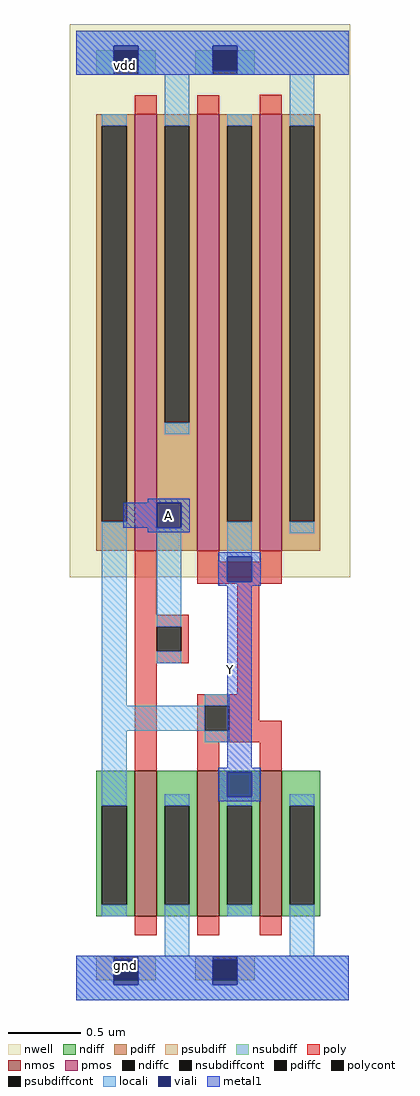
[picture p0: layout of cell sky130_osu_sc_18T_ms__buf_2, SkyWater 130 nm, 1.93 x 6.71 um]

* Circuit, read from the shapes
.subckt sky130_osu_sc_18T_ms__buf_2 A Y
XM1 gnd A n1 gnd sky130_fd_pr__nfet_01v8 w=1 l=0.15
XM2 Y n1 gnd gnd sky130_fd_pr__nfet_01v8 w=1 l=0.15 m=2
XM3 vdd A n1 vdd sky130_fd_pr__pfet_01v8 w=3 l=0.15
XM4 Y n1 vdd vdd sky130_fd_pr__pfet_01v8 w=3 l=0.15 m=2
.ends

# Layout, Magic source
magic
tech sky130A
magscale 1 2
<< nwell >>
rect -9 581 376 1341
<< nmos >>
rect 80 115 110 315
rect 166 115 196 315
rect 252 115 282 315
<< pmos >>
rect 80 617 110 1217
rect 166 617 196 1217
rect 252 617 282 1217
<< ndiff >>
rect 27 267 80 315
rect 27 131 35 267
rect 69 131 80 267
rect 27 115 80 131
rect 110 267 166 315
rect 110 131 121 267
rect 155 131 166 267
rect 110 115 166 131
rect 196 267 252 315
rect 196 131 207 267
rect 241 131 252 267
rect 196 115 252 131
rect 282 267 335 315
rect 282 131 293 267
rect 327 131 335 267
rect 282 115 335 131
<< pdiff >>
rect 27 1201 80 1217
rect 27 657 35 1201
rect 69 657 80 1201
rect 27 617 80 657
rect 110 1201 166 1217
rect 110 793 121 1201
rect 155 793 166 1201
rect 110 617 166 793
rect 196 1201 252 1217
rect 196 657 207 1201
rect 241 657 252 1201
rect 196 617 252 657
rect 282 1201 335 1217
rect 282 657 293 1201
rect 327 657 335 1201
rect 282 617 335 657
<< ndiffc >>
rect 35 131 69 267
rect 121 131 155 267
rect 207 131 241 267
rect 293 131 327 267
<< pdiffc >>
rect 35 657 69 1201
rect 121 793 155 1201
rect 207 657 241 1201
rect 293 657 327 1201
<< psubdiff >>
rect 27 27 51 61
rect 85 27 109 61
rect 163 27 187 61
rect 221 27 245 61
<< nsubdiff >>
rect 27 1271 51 1305
rect 85 1271 109 1305
rect 163 1271 187 1305
rect 221 1271 245 1305
<< psubdiffcont >>
rect 51 27 85 61
rect 187 27 221 61
<< nsubdiffcont >>
rect 51 1271 85 1305
rect 187 1271 221 1305
<< poly >>
rect 80 1217 110 1243
rect 166 1217 196 1243
rect 252 1217 282 1244
rect 80 529 110 617
rect 166 602 196 617
rect 252 602 282 617
rect 166 572 282 602
rect 80 513 154 529
rect 80 479 110 513
rect 144 479 154 513
rect 80 463 154 479
rect 80 315 110 463
rect 221 420 251 572
rect 166 404 251 420
rect 166 370 176 404
rect 210 384 251 404
rect 210 370 282 384
rect 166 354 282 370
rect 166 315 196 354
rect 252 315 282 354
rect 80 89 110 115
rect 166 89 196 115
rect 252 89 282 115
<< polycont >>
rect 110 479 144 513
rect 176 370 210 404
<< locali >>
rect 0 1311 374 1332
rect 0 1271 51 1311
rect 85 1271 187 1311
rect 221 1271 374 1311
rect 35 1201 69 1217
rect 121 1201 155 1271
rect 121 777 155 793
rect 207 1201 241 1217
rect 35 404 69 657
rect 110 513 144 649
rect 207 609 241 657
rect 293 1201 327 1271
rect 293 641 327 657
rect 110 463 144 479
rect 176 404 210 420
rect 35 370 176 404
rect 35 267 69 370
rect 176 354 210 370
rect 35 115 69 131
rect 121 267 155 283
rect 121 61 155 131
rect 207 267 241 279
rect 207 115 241 131
rect 293 267 327 283
rect 293 61 327 131
rect 0 21 51 61
rect 85 21 187 61
rect 221 21 374 61
rect 0 0 374 21
<< viali >>
rect 51 1305 85 1311
rect 51 1277 85 1305
rect 187 1305 221 1311
rect 187 1277 221 1305
rect 110 649 144 683
rect 207 575 241 609
rect 207 279 241 313
rect 51 27 85 55
rect 51 21 85 27
rect 187 27 221 55
rect 187 21 221 27
<< metal1 >>
rect 0 1311 374 1332
rect 0 1277 51 1311
rect 85 1277 187 1311
rect 221 1277 374 1311
rect 0 1271 374 1277
rect 98 683 156 689
rect 64 649 110 683
rect 144 649 156 683
rect 98 643 156 649
rect 195 609 253 615
rect 195 575 207 609
rect 241 575 253 609
rect 195 569 253 575
rect 207 319 241 569
rect 195 313 253 319
rect 195 279 207 313
rect 241 279 253 313
rect 195 273 253 279
rect 0 55 374 61
rect 0 21 51 55
rect 85 21 187 55
rect 221 21 374 55
rect 0 0 374 21
<< labels >>
rlabel metal1 127 666 127 666 1 A
port 1 n
rlabel metal1 211 454 211 454 1 Y
port 2 n
rlabel viali 68 48 68 48 1 gnd
rlabel viali 68 1284 68 1284 1 vdd
<< end >>
